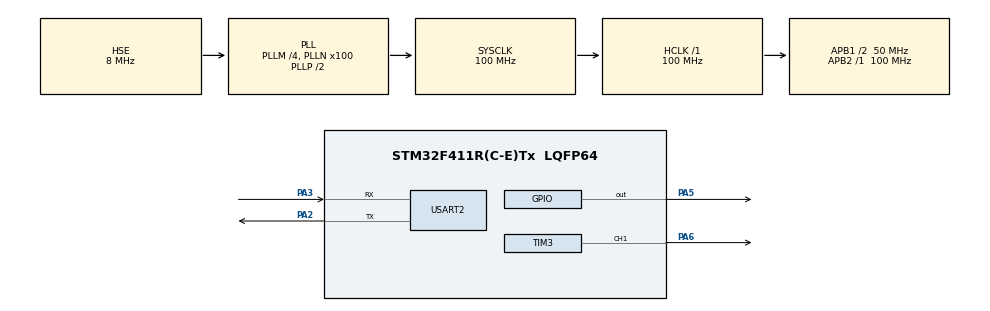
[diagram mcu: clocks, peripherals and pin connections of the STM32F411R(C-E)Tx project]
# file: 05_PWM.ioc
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Mcu.Family=STM32F4
Mcu.Name=STM32F411R(C-E)Tx
Mcu.Package=LQFP64
NVIC.PriorityGroup=NVIC_PRIORITYGROUP_4
NVIC.USART2_IRQn=true\:0\:0\:false\:false\:true\:true\:true\:true
PA13.Mode=Serial_Wire
PA13.Signal=SYS_JTMS-SWDIO
PA14.Mode=Serial_Wire
PA14.Signal=SYS_JTCK-SWCLK
PA2.Mode=Asynchronous
PA2.Signal=USART2_TX
PA3.Mode=Asynchronous
PA3.Signal=USART2_RX
PA5.Signal=GPIO_Output
PA6.Signal=S_TIM3_CH1
PH0\ -\ OSC_IN.Mode=HSE-External-Oscillator
PH0\ -\ OSC_IN.Signal=RCC_OSC_IN
PH1\ -\ OSC_OUT.Mode=HSE-External-Oscillator
PH1\ -\ OSC_OUT.Signal=RCC_OSC_OUT
ProjectManager.HeapSize=0x200
ProjectManager.StackSize=0x400
ProjectManager.TargetToolchain=STM32CubeIDE
RCC.48MHZClocksFreq_Value=50000000
RCC.AHBFreq_Value=100000000
RCC.APB1CLKDivider=RCC_HCLK_DIV2
RCC.APB1Freq_Value=50000000
RCC.APB1TimFreq_Value=100000000
RCC.APB2Freq_Value=100000000
RCC.APB2TimFreq_Value=100000000
RCC.CortexFreq_Value=100000000
RCC.HCLKFreq_Value=100000000
RCC.HSE_VALUE=8000000
RCC.HSI_VALUE=16000000
RCC.LSE_VALUE=32768
RCC.PLLM=4
RCC.PLLN=100
RCC.PLLSourceVirtual=RCC_PLLSOURCE_HSE
RCC.SYSCLKFreq_VALUE=100000000
RCC.SYSCLKSource=RCC_SYSCLKSOURCE_PLLCLK
RCC.VCOOutputFreq_Value=200000000
SH.S_TIM3_CH1.0=TIM3_CH1,PWM Generation1 CH1
TIM3.Channel-PWM\ Generation1\ CH1=TIM_CHANNEL_1
TIM3.Period=1000-1
TIM3.Prescaler=2000-1
USART2.VirtualMode=VM_ASYNC
VP_TIM3_VS_ClockSourceINT.Mode=Internal
board=custom

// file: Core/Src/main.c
/* USER CODE BEGIN Header */
/**
  ******************************************************************************
  * @file           : main.c
  * @brief          : Main program body
  ******************************************************************************
  * @attention
  *
  * Copyright (c) 2025 STMicroelectronics.
  * All rights reserved.
  *
  * This software is licensed under terms that can be found in the LICENSE file
  * in the root directory of this software component.
  * If no LICENSE file comes with this software, it is provided AS-IS.
  *
  ******************************************************************************
  */
/* USER CODE END Header */
#include "main.h"
#include "tim.h"
#include "usart.h"
#include "gpio.h"

/* USER CODE BEGIN PD */
uint8_t rxData;
volatile uint8_t
/* USER CODE END PD */

void SystemClock_Config(void);

/* USER CODE BEGIN 0 */
void HAL_UART_RxCpltCallback(UART_HandleTypeDef *huart)
{
  if (huart->Instance == USART2)
  {
      // 문자에 따라 PWM 값 변경
      if (rxData == 'a')
      {
          TIM3->CCR1 = 50;
      }
      else if (rxData == 'b')
      {
          TIM3->CCR1 = 150;
      }
      else if (rxData == 'c')
      {
          TIM3->CCR1 = 250;
      }

      // 다시 수신 대기 (★ 중요)
      HAL_UART_Receive_IT(&huart2, &rxData, 1);
  }
}
/* USER CODE END 0 */

int main(void)
{

  /* MCU Configuration--------------------------------------------------------*/

  /* Reset of all peripherals, Initializes the Flash interface and the Systick. */
  HAL_Init();

  /* USER CODE BEGIN Init */
  HAL_UART_Receive_IT(&huart2, &rxData, 1);
  /* USER CODE END Init */

  /* Configure the system clock */
  SystemClock_Config();

  /* Initialize all configured peripherals */
  MX_GPIO_Init();
  MX_TIM3_Init();
  MX_USART2_UART_Init();
  /* USER CODE BEGIN 2 */
  HAL_TIM_PWM_Start(&htim3, TIM_CHANNEL_1);
  // UART 인터럽트 수신 시작
    HAL_UART_Receive_IT(&huart2, &rxData, 1);

//  TIM3->CCR1 = 500;
  /* USER CODE END 2 */

  /* Infinite loop */
  /* USER CODE BEGIN WHILE */
  while (1)
  {
    HAL_Delay(100);

//    for(uint32_t i = 0; i < 1000; i++)
//    {
//      TIM3->CCR1 = i;
//      HAL_Delay(5);
//    }

    /* USER CODE END WHILE */

  }
}

void SystemClock_Config(void)
{
  RCC_OscInitTypeDef RCC_OscInitStruct = {0};
  RCC_ClkInitTypeDef RCC_ClkInitStruct = {0};

  /** Configure the main internal regulator output voltage
  */
  __HAL_RCC_PWR_CLK_ENABLE();
  __HAL_PWR_VOLTAGESCALING_CONFIG(PWR_REGULATOR_VOLTAGE_SCALE1);

  /** Initializes the RCC Oscillators according to the specified parameters
  * in the RCC_OscInitTypeDef structure.
  */
  RCC_OscInitStruct.OscillatorType = RCC_OSCILLATORTYPE_HSE;
  RCC_OscInitStruct.HSEState = RCC_HSE_ON;
  RCC_OscInitStruct.PLL.PLLState = RCC_PLL_ON;
  RCC_OscInitStruct.PLL.PLLSource = RCC_PLLSOURCE_HSE;
  RCC_OscInitStruct.PLL.PLLM = 4;
  RCC_OscInitStruct.PLL.PLLN = 100;
  RCC_OscInitStruct.PLL.PLLP = RCC_PLLP_DIV2;
  RCC_OscInitStruct.PLL.PLLQ = 4;
  if (HAL_RCC_OscConfig(&RCC_OscInitStruct) != HAL_OK)
  {
    Error_Handler();
  }

  /** Initializes the CPU, AHB and APB buses clocks
  */
  RCC_ClkInitStruct.ClockType = RCC_CLOCKTYPE_HCLK|RCC_CLOCKTYPE_SYSCLK
                              |RCC_CLOCKTYPE_PCLK1|RCC_CLOCKTYPE_PCLK2;
  RCC_ClkInitStruct.SYSCLKSource = RCC_SYSCLKSOURCE_PLLCLK;
  RCC_ClkInitStruct.AHBCLKDivider = RCC_SYSCLK_DIV1;
  RCC_ClkInitStruct.APB1CLKDivider = RCC_HCLK_DIV2;
  RCC_ClkInitStruct.APB2CLKDivider = RCC_HCLK_DIV1;

  if (HAL_RCC_ClockConfig(&RCC_ClkInitStruct, FLASH_LATENCY_3) != HAL_OK)
  {
    Error_Handler();
  }
}

void Error_Handler(void)
{
  __disable_irq();
  while (1)
  {
  }
}
